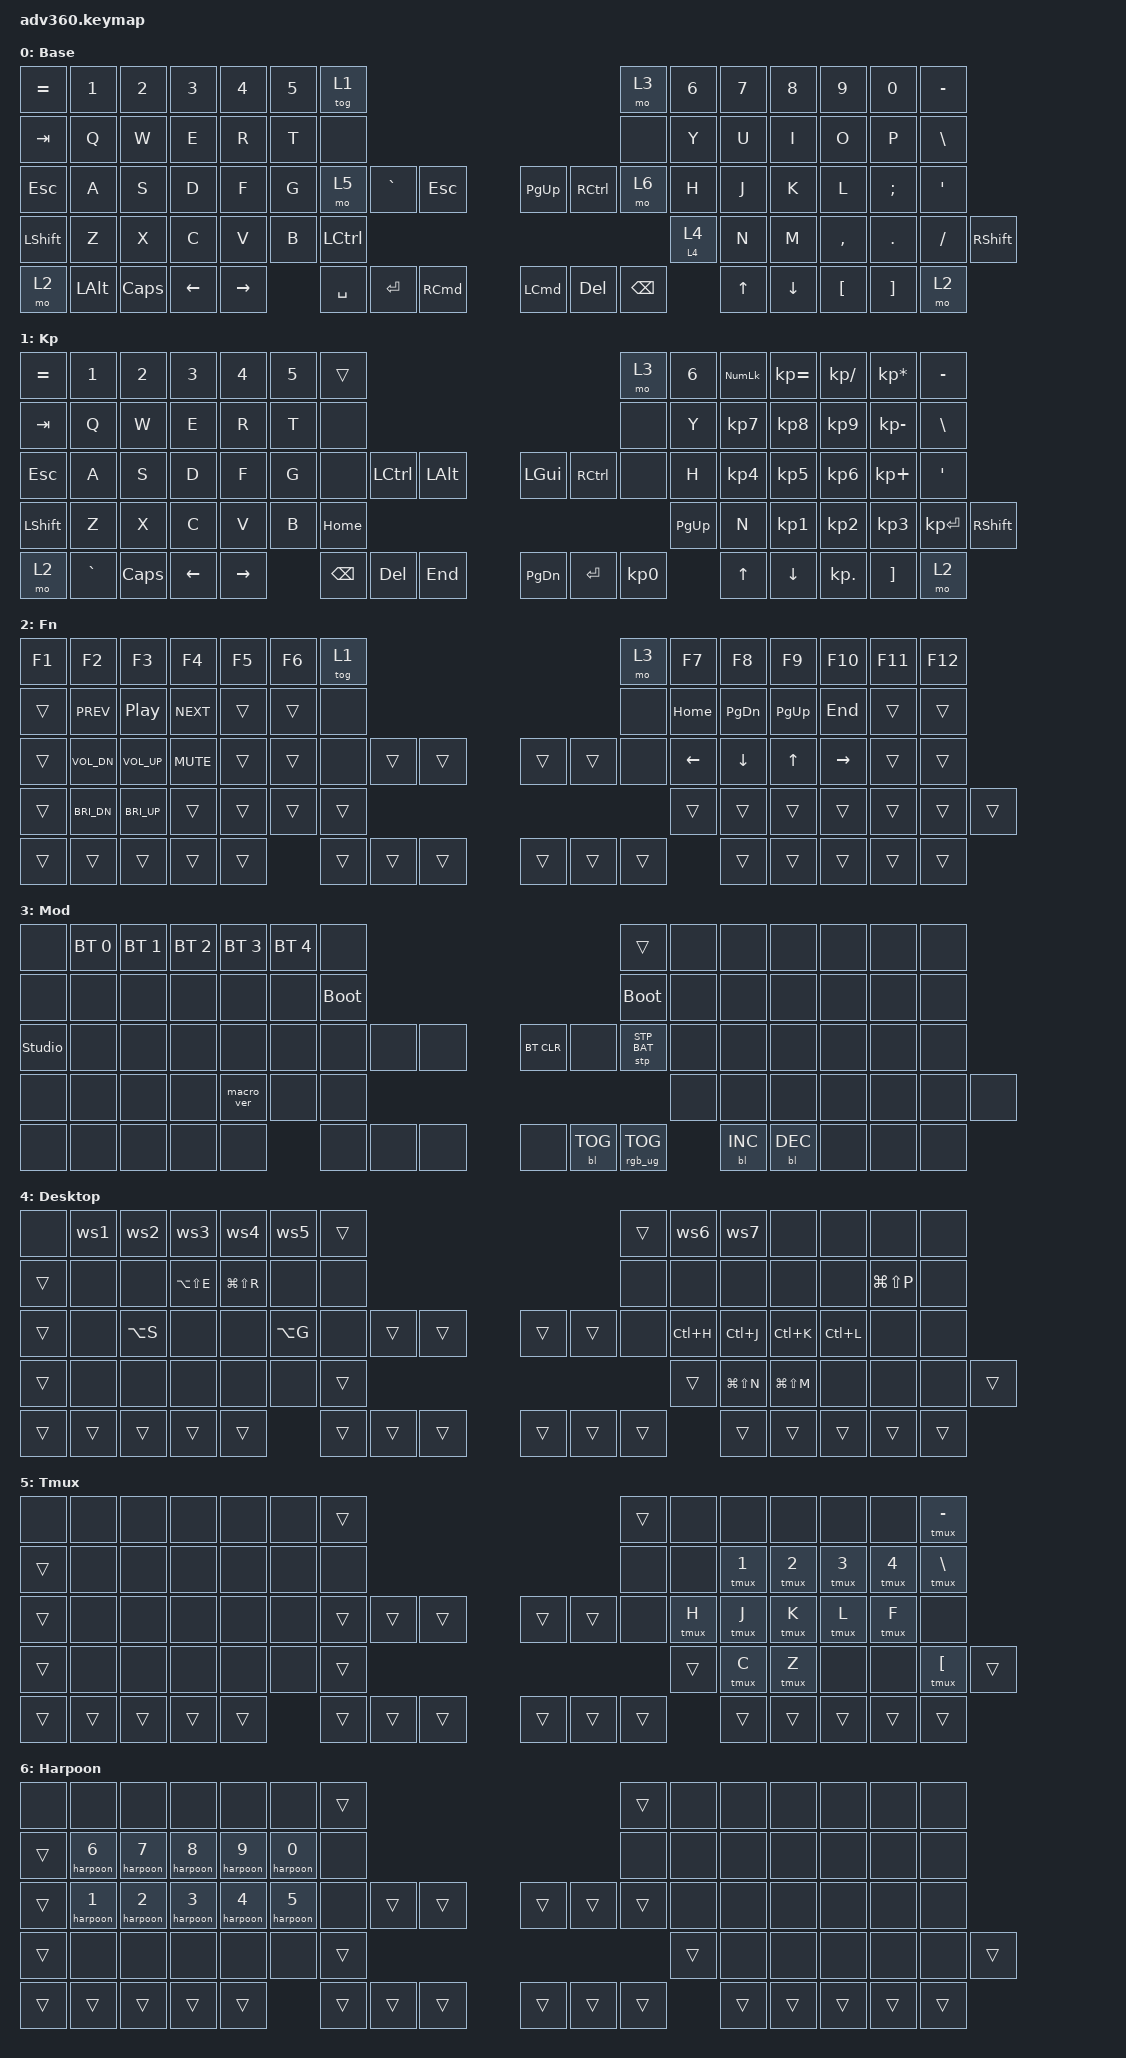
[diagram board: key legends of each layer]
#include <dt-bindings/zmk/stp.h>
#include <behaviors.dtsi>
#include <dt-bindings/zmk/backlight.h>
#include <dt-bindings/zmk/bt.h>
#include <dt-bindings/zmk/keys.h>
#include <dt-bindings/zmk/rgb.h>

/ {
    behaviors {
        #include "macros.dtsi"
      #include "version.dtsi"

        hm: homerow_mods {
            compatible = "zmk,behavior-hold-tap";
            label = "HOMEROW_MODS";
            #binding-cells = <2>;
            tapping-term-ms = <200>;
            quick_tap_ms = <175>;
            flavor = "tap-preferred";
            bindings = <&kp>, <&kp>;
        };

        // Hold = momentary layer, tap = toggle layer (tap behaves like the old &tog)
        mo_tog: mo_tog {
            compatible = "zmk,behavior-hold-tap";
            #binding-cells = <2>;
            tapping-term-ms = <200>;
            flavor = "hold-preferred";
            bindings = <&mo>, <&tog>;
        };

        // tmux: sends prefix (C-a) then the given key, e.g. &tmux H
        tmux: tmux {
            compatible = "zmk,behavior-macro-one-param";
            #binding-cells = <1>;
            bindings = <&kp LC(A)>, <&macro_param_1to1>, <&kp MACRO_PLACEHOLDER>;
        };

        // harpoon: sends Space (nvim leader) then the given key, e.g. &harpoon N1
        harpoon: harpoon {
            compatible = "zmk,behavior-macro-one-param";
            #binding-cells = <1>;
            bindings = <&kp SPACE>, <&macro_param_1to1>, <&kp MACRO_PLACEHOLDER>;
        };

        // AeroSpace workspaces: tap = ctrl-N (go to workspace), shift+tap = cmd-shift-N (move window there)
        ws1: ws1 {
            compatible = "zmk,behavior-mod-morph";
            #binding-cells = <0>;
            bindings = <&kp LC(N1)>, <&kp LG(LS(N1))>;
            mods = <(MOD_LSFT|MOD_RSFT)>;
        };
        ws2: ws2 {
            compatible = "zmk,behavior-mod-morph";
            #binding-cells = <0>;
            bindings = <&kp LC(N2)>, <&kp LG(LS(N2))>;
            mods = <(MOD_LSFT|MOD_RSFT)>;
        };
        ws3: ws3 {
            compatible = "zmk,behavior-mod-morph";
            #binding-cells = <0>;
            bindings = <&kp LC(N3)>, <&kp LG(LS(N3))>;
            mods = <(MOD_LSFT|MOD_RSFT)>;
        };
        ws4: ws4 {
            compatible = "zmk,behavior-mod-morph";
            #binding-cells = <0>;
            bindings = <&kp LC(N4)>, <&kp LG(LS(N4))>;
            mods = <(MOD_LSFT|MOD_RSFT)>;
        };
        ws5: ws5 {
            compatible = "zmk,behavior-mod-morph";
            #binding-cells = <0>;
            bindings = <&kp LC(N5)>, <&kp LG(LS(N5))>;
            mods = <(MOD_LSFT|MOD_RSFT)>;
        };
        ws6: ws6 {
            compatible = "zmk,behavior-mod-morph";
            #binding-cells = <0>;
            bindings = <&kp LC(N6)>, <&kp LG(LS(N6))>;
            mods = <(MOD_LSFT|MOD_RSFT)>;
        };
        ws7: ws7 {
            compatible = "zmk,behavior-mod-morph";
            #binding-cells = <0>;
            bindings = <&kp LC(N7)>, <&kp LG(LS(N7))>;
            mods = <(MOD_LSFT|MOD_RSFT)>;
        };
    };

    keymap {
        compatible = "zmk,keymap";

        default_layer {
            display-name = "Base";
            bindings = <
&kp EQUAL  &kp N1        &kp N2    &kp N3    &kp N4     &kp N5  &tog 1                                                                    &mo 3     &kp N6  &kp N7  &kp N8     &kp N9    &kp N0    &kp MINUS
&kp TAB    &kp Q         &kp W     &kp E     &kp R      &kp T   &none                                                                     &none     &kp Y   &kp U   &kp I      &kp O     &kp P     &kp BSLH
&kp ESC    &kp A         &kp S     &kp D     &kp F      &kp G   &mo 5      &kp GRAVE  &kp ESCAPE             &kp PAGE_UP       &kp RCTRL  &mo 6     &kp H   &kp J   &kp K      &kp L     &kp SEMI  &kp SQT
&kp LSHFT  &kp Z         &kp X     &kp C     &kp V      &kp B                         &kp LEFT_CONTROL       &mo_tog 4 4                                 &kp N   &kp M   &kp COMMA  &kp DOT   &kp FSLH  &kp RSHFT
&mo 2      &kp LEFT_ALT  &kp CAPS  &kp LEFT  &kp RIGHT          &kp SPACE  &kp ENTER  &kp RIGHT_COMMAND      &kp LEFT_COMMAND  &kp DEL    &kp BSPC          &kp UP  &kp DOWN   &kp LBKT  &kp RBKT  &mo 2
            >;
        };

        keypad {
            display-name = "Kp";
            bindings = <
&kp EQUAL  &kp N1     &kp N2    &kp N3    &kp N4     &kp N5  &trans                                                   &mo 3      &kp N6  &kp KP_NUM  &kp KP_EQUAL  &kp KP_DIVIDE  &kp KP_MULTIPLY  &kp MINUS
&kp TAB    &kp Q      &kp W     &kp E     &kp R      &kp T   &none                                                    &none      &kp Y   &kp KP_N7   &kp KP_N8     &kp KP_N9      &kp KP_MINUS     &kp BSLH
&kp ESC    &kp A      &kp S     &kp D     &kp F      &kp G   &none     &kp LCTRL  &kp LALT      &kp LGUI   &kp RCTRL  &none      &kp H   &kp KP_N4   &kp KP_N5     &kp KP_N6      &kp KP_PLUS      &kp SQT
&kp LSHFT  &kp Z      &kp X     &kp C     &kp V      &kp B                        &kp HOME      &kp PG_UP                        &kp N   &kp KP_N1   &kp KP_N2     &kp KP_N3      &kp KP_ENTER     &kp RSHFT
&mo 2      &kp GRAVE  &kp CAPS  &kp LEFT  &kp RIGHT          &kp BSPC  &kp DEL    &kp END       &kp PG_DN  &kp ENTER  &kp KP_N0          &kp UP      &kp DOWN      &kp KP_DOT     &kp RBKT         &mo 2
            >;
        };

        fn {
            display-name = "Fn";
            bindings = <
&kp F1  &kp F2      &kp F3       &kp F4     &kp F5  &kp F6  &tog 1                                      &mo 3   &kp F7    &kp F8     &kp F9    &kp F10    &kp F11  &kp F12
&trans  &kp C_PREV  &kp C_PP     &kp C_NEXT &trans  &trans  &none                                       &none   &kp HOME  &kp PG_DN  &kp PG_UP &kp END    &trans   &trans
&trans  &kp C_VOL_DN &kp C_VOL_UP &kp C_MUTE &trans &trans  &none   &trans  &trans      &trans  &trans  &none   &kp LEFT  &kp DOWN   &kp UP    &kp RIGHT  &trans   &trans
&trans  &kp C_BRI_DN &kp C_BRI_UP &trans    &trans  &trans                  &trans      &trans                  &trans    &trans     &trans    &trans     &trans   &trans
&trans  &trans      &trans       &trans     &trans          &trans  &trans  &trans      &trans  &trans  &trans          &trans     &trans    &trans     &trans   &trans
            >;
        };

        mod {
            display-name = "Mod";
            bindings = <
&none           &bt BT_SEL 0  &bt BT_SEL 1  &bt BT_SEL 2  &bt BT_SEL 3  &bt BT_SEL 4  &none                                                  &trans           &none  &none       &none       &none  &none  &none
&none           &none         &none         &none         &none         &none         &bootloader                                            &bootloader      &none  &none       &none       &none  &none  &none
&studio_unlock  &none         &none         &none         &none         &none         &none        &none  &none      &bt BT_CLR  &none       &stp STP_BAT     &none  &none       &none       &none  &none  &none
&none           &none         &none         &none         &macro_ver    &none                             &none      &none                                    &none  &none       &none       &none  &none  &none
&none           &none         &none         &none         &none                       &none        &none  &none      &none       &bl BL_TOG  &rgb_ug RGB_TOG         &bl BL_INC  &bl BL_DEC  &none  &none  &none
            >;
        };

        extra1 {
            display-name = "Desktop";
            bindings = <
&none   &ws1    &ws2        &ws3            &ws4            &ws5    &trans                                  &trans  &ws6    &ws7            &none   &none   &none           &none
&trans  &none   &none       &kp LA(LS(E))   &kp LG(LS(R))   &none   &none                                   &none   &none   &none           &none   &none   &kp LG(LS(P))   &none
&trans  &none   &kp LA(S)   &none           &none           &kp LA(G) &none  &trans  &trans  &trans  &trans  &none   &kp LC(H) &kp LC(J)     &kp LC(K) &kp LC(L) &none        &none
&trans  &none   &none       &none           &none           &none                   &trans  &trans                  &kp LG(LS(N)) &kp LG(LS(M)) &none &none &none          &trans
&trans  &trans  &trans      &trans          &trans                  &trans  &trans  &trans  &trans  &trans  &trans          &trans  &trans          &trans  &trans          &trans
            >;
        };

        extra2 {
            display-name = "Tmux";
            bindings = <
&none   &none   &none   &none   &none   &none   &trans                                  &trans  &none       &none       &none       &none       &none       &tmux MINUS
&trans  &none   &none   &none   &none   &none   &none                                   &none   &none       &tmux N1    &tmux N2    &tmux N3    &tmux N4    &tmux BSLH
&trans  &none   &none   &none   &none   &none   &trans  &trans  &trans  &trans  &trans  &none   &tmux H     &tmux J     &tmux K     &tmux L     &tmux F     &none
&trans  &none   &none   &none   &none   &none                   &trans  &trans                  &tmux C     &tmux Z     &none       &none       &tmux LBKT  &trans
&trans  &trans  &trans  &trans  &trans          &trans  &trans  &trans  &trans  &trans  &trans          &trans      &trans      &trans      &trans      &trans
            >;
        };

        extra3 {
            display-name = "Harpoon";
            bindings = <
&none   &none        &none        &none        &none        &none        &trans                                  &trans  &none   &none   &none   &none   &none   &none
&trans  &harpoon N6  &harpoon N7  &harpoon N8  &harpoon N9  &harpoon N0  &none                                   &none   &none   &none   &none   &none   &none   &none
&trans  &harpoon N1  &harpoon N2  &harpoon N3  &harpoon N4  &harpoon N5  &none   &trans  &trans  &trans  &trans  &trans  &none   &none   &none   &none   &none   &none
&trans  &none        &none        &none        &none        &none                        &trans  &trans                  &none   &none   &none   &none   &none   &trans
&trans  &trans       &trans       &trans       &trans                    &trans  &trans  &trans  &trans  &trans  &trans          &trans  &trans  &trans  &trans  &trans
            >;
        };

        extra4 {
            display-name = "Yellow";
            status = "reserved";
        };
    };
};
